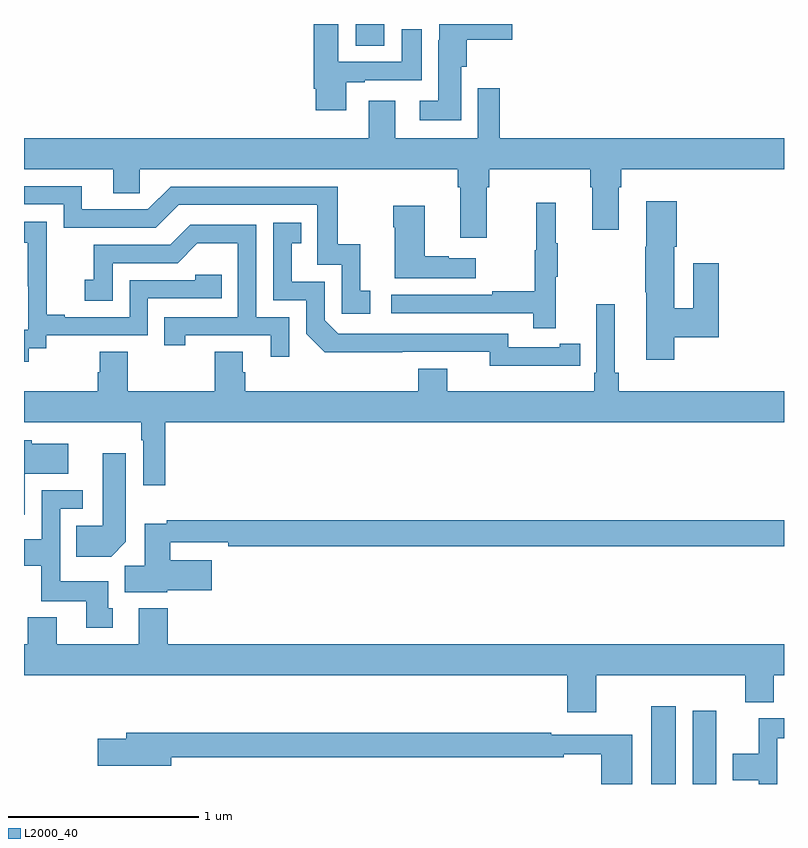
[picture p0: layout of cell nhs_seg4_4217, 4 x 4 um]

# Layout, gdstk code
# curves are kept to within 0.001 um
import gdstk
lib = gdstk.Library(unit=1e-6, precision=1e-09)
def R(c, l, rs):  # rectangles x0, y0, x1, y1
    for r in rs: c.add(gdstk.rectangle(r[:2], r[2:], *l))
def P(c, l, *ps):  # polygons
    for p in ps: c.add(gdstk.Polygon(p, *l))
L2000_40 = (2000, 40)

nhs_seg4_4217 = lib.new_cell('nhs_seg4_4217')
R(nhs_seg4_4217, L2000_40, [(338.3,810.9,338.431,811.309), (338.519,810.9,338.644,811.285), (336.746,814.786,336.895,814.9)])
P(nhs_seg4_4217, L2000_40, [(336.697,814.593),(336.793,814.593),(336.793,814.605),(337.093,814.605),(337.093,814.873),(336.989,814.873),(336.989,814.701),(336.655,814.701),(336.655,814.9),(336.524,814.9),(336.524,814.558),(336.536,814.558),(336.536,814.446),(336.697,814.446)],
  [(337.3,814.674),(337.331,814.674),(337.331,814.817),(337.57,814.817),(337.57,814.9),(337.185,814.9),(337.185,814.814),(337.181,814.814),(337.181,814.495),(337.083,814.495),(337.083,814.394),(337.3,814.394)],
  [(337.435,814.04),(337.448,814.04),(337.448,814.136),(337.979,814.136),(337.979,814.04),(337.991,814.04),(337.991,813.816),(338.131,813.816),(338.131,814.04),(338.144,814.04),(338.144,814.136),(339,814.136),(339,814.3),(337.505,814.3),(337.505,814.561),(337.389,814.561),(337.389,814.3),(336.955,814.3),(336.955,814.495),(336.815,814.495),(336.815,814.3),(335,814.3),(335,814.136),(335.471,814.136),(335.471,814.009),(335.61,814.009),(335.61,814.136),(337.283,814.136),(337.283,814.04),(337.295,814.04),(337.295,813.774),(337.435,813.774)],
  [(336.823,813.495),(336.77,813.495),(336.77,813.742),(336.652,813.742),(336.652,814.044),(335.772,814.044),(335.652,813.924),(335.305,813.924),(335.305,814.047),(335,814.047),(335,813.951),(335.208,813.951),(335.208,813.828),(335.694,813.828),(335.814,813.948),(336.543,813.948),(336.543,813.633),(336.672,813.633),(336.672,813.375),(336.823,813.375)],
  [(338.422,813.251),(338.657,813.251),(338.657,813.64),(338.522,813.64),(338.522,813.404),(338.422,813.404),(338.422,813.727),(338.435,813.727),(338.435,813.967),(338.276,813.967),(338.276,813.728),(338.269,813.728),(338.269,813.487),(338.276,813.487),(338.276,813.132),(338.422,813.132)],
  [(337.799,813.571),(337.81,813.571),(337.81,813.745),(337.799,813.745),(337.799,813.958),(337.696,813.958),(337.696,813.708),(337.689,813.708),(337.689,813.494),(337.465,813.494),(337.465,813.474),(336.933,813.474),(336.933,813.378),(337.681,813.378),(337.681,813.3),(337.799,813.3)],
  [(337.378,813.667),(337.235,813.667),(337.235,813.677),(337.108,813.677),(337.108,813.943),(336.943,813.943),(336.943,813.83),(336.95,813.83),(336.95,813.563),(337.378,813.563)],
  [(335.026,813.193),(335.118,813.193),(335.118,813.261),(335.652,813.261),(335.652,813.456),(336.041,813.456),(336.041,813.579),(335.901,813.579),(335.901,813.552),(335.556,813.552),(335.556,813.357),(335.215,813.357),(335.215,813.37),(335.12,813.37),(335.12,813.653),(335.121,813.653),(335.121,813.859),(335,813.859),(335,813.749),(335.021,813.749),(335.021,813.521),(335.022,813.521),(335.022,813.291),(335,813.291),(335,813.123),(335.026,813.123)],
  [(337.82,813.102),(337.928,813.102),(337.928,813.218),(337.82,813.218),(337.82,813.198),(337.548,813.198),(337.548,813.27),(336.654,813.27),(336.582,813.342),(336.582,813.543),(336.409,813.543),(336.409,813.747),(336.458,813.747),(336.458,813.853),(336.312,813.853),(336.312,813.447),(336.486,813.447),(336.486,813.27),(336.584,813.173),(337.452,813.174),(337.452,813.101)],
  [(336.396,813.357),(336.222,813.357),(336.222,813.843),(335.876,813.843),(335.771,813.738),(335.368,813.738),(335.368,813.553),(335.319,813.553),(335.319,813.444),(335.466,813.444),(335.466,813.642),(335.808,813.642),(335.912,813.746),(336.126,813.746),(336.126,813.357),(335.737,813.357),(335.737,813.21),(335.848,813.21),(335.848,813.261),(336.299,813.261),(336.299,813.15),(336.396,813.15)],
  [(335.744,812.804),(339,812.804),(339,812.968),(338.129,812.968),(338.129,813.064),(338.11,813.064),(338.11,813.424),(338.013,813.424),(338.013,813.064),(338,813.064),(338,812.968),(337.228,812.968),(337.228,813.085),(337.076,813.085),(337.076,812.968),(336.164,812.968),(336.164,813.066),(336.151,813.066),(336.151,813.176),(336.004,813.176),(336.004,812.968),(335.547,812.968),(335.547,813.176),(335.399,813.176),(335.399,813.066),(335.387,813.066),(335.387,812.968),(335,812.968),(335,812.804),(335.616,812.804),(335.616,812.708),(335.628,812.708),(335.628,812.472),(335.744,812.472)],
  [(335.004,812.534),(335.233,812.534),(335.233,812.692),(335.04,812.692),(335.04,812.71),(335,812.71),(335,812.318),(335.004,812.318)],
  [(335.536,812.174),(335.536,812.641),(335.414,812.641),(335.414,812.26),(335.275,812.26),(335.275,812.096),(335.458,812.096)],
  [(335.467,811.824),(335.443,811.824),(335.443,811.966),(335.19,811.966),(335.19,812.349),(335.308,812.349),(335.308,812.445),(335.094,812.445),(335.094,812.188),(335,812.188),(335,812.048),(335.092,812.048),(335.092,811.862),(335.327,811.862),(335.327,811.722),(335.467,811.722)],
  [(335.754,811.919),(335.989,811.919),(335.989,812.077),(335.771,812.077),(335.771,812.172),(336.076,812.172),(336.076,812.152),(339,812.152),(339,812.288),(335.752,812.288),(335.752,812.27),(335.636,812.27),(335.636,812.048),(335.531,812.048),(335.531,811.91),(335.754,811.91)],
  [(338.011,811.472),(338.795,811.472),(338.795,811.331),(338.947,811.331),(338.947,811.472),(339,811.472),(339,811.636),(335.756,811.636),(335.756,811.825),(335.603,811.825),(335.603,811.636),(335.173,811.636),(335.173,811.777),(335.021,811.777),(335.021,811.636),(335,811.636),(335,811.472),(337.859,811.472),(337.859,811.278),(338.011,811.278)],
  [(338.964,811.142),(339,811.142),(339,811.246),(338.866,811.246),(338.866,811.06),(338.729,811.06),(338.729,810.92),(338.868,810.92),(338.868,810.9),(338.964,810.9)],
  [(338.2,811.158),(337.775,811.158),(337.775,811.171),(335.537,811.171),(335.537,811.137),(335.388,811.137),(335.388,810.995),(335.776,810.995),(335.776,811.042),(337.84,811.042),(337.84,811.057),(338.038,811.057),(338.038,810.9),(338.2,810.9)])

lib.write_gds('nhs_seg4_4217.gds')
